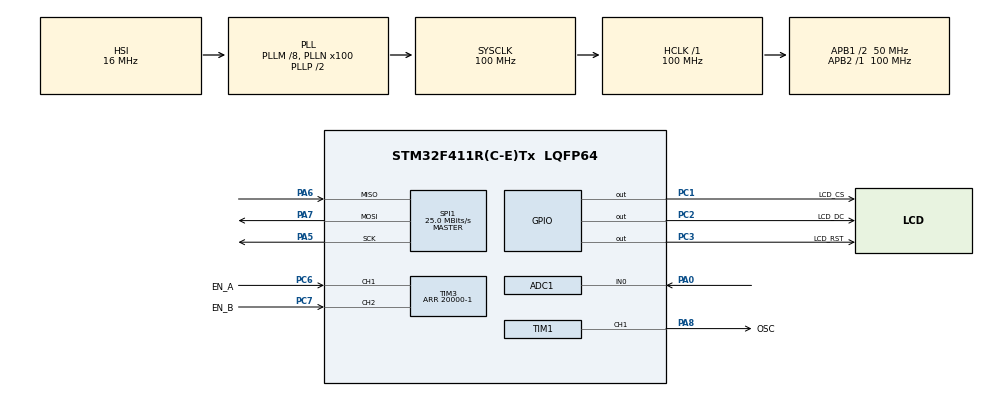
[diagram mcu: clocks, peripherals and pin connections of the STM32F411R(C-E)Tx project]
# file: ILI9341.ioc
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ADC1.Channel-0\#ChannelRegularConversion=ADC_CHANNEL_0
ADC1.ContinuousConvMode=DISABLE
ADC1.DMAContinuousRequests=ENABLE
ADC1.ExternalTrigConv=ADC_EXTERNALTRIGCONV_T2_TRGO
ADC1.NbrOfConversionFlag=1
ADC1.Rank-0\#ChannelRegularConversion=1
ADC1.SamplingTime-0\#ChannelRegularConversion=ADC_SAMPLETIME_3CYCLES
ADC1.master=1
Dma.ADC1.1.Direction=DMA_PERIPH_TO_MEMORY
Dma.ADC1.1.FIFOMode=DMA_FIFOMODE_DISABLE
Dma.ADC1.1.Instance=DMA2_Stream0
Dma.ADC1.1.MemDataAlignment=DMA_MDATAALIGN_HALFWORD
Dma.ADC1.1.MemInc=DMA_MINC_ENABLE
Dma.ADC1.1.Mode=DMA_CIRCULAR
Dma.ADC1.1.PeriphDataAlignment=DMA_PDATAALIGN_HALFWORD
Dma.ADC1.1.PeriphInc=DMA_PINC_DISABLE
Dma.ADC1.1.Priority=DMA_PRIORITY_LOW
Dma.Request0=SPI1_TX
Dma.Request1=ADC1
Dma.SPI1_TX.0.Direction=DMA_MEMORY_TO_PERIPH
Dma.SPI1_TX.0.FIFOMode=DMA_FIFOMODE_DISABLE
Dma.SPI1_TX.0.Instance=DMA2_Stream2
Dma.SPI1_TX.0.MemDataAlignment=DMA_MDATAALIGN_BYTE
Dma.SPI1_TX.0.MemInc=DMA_MINC_ENABLE
Dma.SPI1_TX.0.Mode=DMA_NORMAL
Dma.SPI1_TX.0.PeriphDataAlignment=DMA_PDATAALIGN_BYTE
Dma.SPI1_TX.0.PeriphInc=DMA_PINC_DISABLE
Dma.SPI1_TX.0.Priority=DMA_PRIORITY_LOW
Mcu.Family=STM32F4
Mcu.Name=STM32F411R(C-E)Tx
Mcu.Package=LQFP64
NVIC.DMA2_Stream0_IRQn=true\:0\:0\:false\:false\:true\:false\:true\:true
NVIC.DMA2_Stream2_IRQn=true\:0\:0\:false\:false\:true\:false\:true\:true
NVIC.PriorityGroup=NVIC_PRIORITYGROUP_4
NVIC.SPI1_IRQn=true\:0\:0\:false\:false\:true\:true\:true\:true
NVIC.TIM2_IRQn=true\:0\:0\:false\:false\:true\:true\:true\:true
PA0-WKUP.Signal=ADCx_IN0
PA5.Mode=Full_Duplex_Master
PA5.Signal=SPI1_SCK
PA6.Mode=Full_Duplex_Master
PA6.Signal=SPI1_MISO
PA7.Mode=Full_Duplex_Master
PA7.Signal=SPI1_MOSI
PA8.GPIO_Label=OSC
PA8.Signal=S_TIM1_CH1
PC1.GPIO_Label=LCD_CS
PC1.Signal=GPIO_Output
PC2.GPIO_Label=LCD_DC
PC2.Signal=GPIO_Output
PC3.GPIO_Label=LCD_RST
PC3.Signal=GPIO_Output
PC6.GPIO_Label=EN_A
PC6.Signal=S_TIM3_CH1
PC7.GPIO_Label=EN_B
PC7.Signal=S_TIM3_CH2
ProjectManager.HeapSize=0x200
ProjectManager.StackSize=0x400
ProjectManager.TargetToolchain=STM32CubeIDE
RCC.48MHZClocksFreq_Value=50000000
RCC.AHBFreq_Value=100000000
RCC.APB1CLKDivider=RCC_HCLK_DIV2
RCC.APB1Freq_Value=50000000
RCC.APB1TimFreq_Value=100000000
RCC.APB2Freq_Value=100000000
RCC.APB2TimFreq_Value=100000000
RCC.CortexFreq_Value=100000000
RCC.HCLKFreq_Value=100000000
RCC.HSE_VALUE=25000000
RCC.HSI_VALUE=16000000
RCC.LSE_VALUE=32768
RCC.PLLM=8
RCC.PLLN=100
RCC.SYSCLKFreq_VALUE=100000000
RCC.SYSCLKSource=RCC_SYSCLKSOURCE_PLLCLK
RCC.VCOOutputFreq_Value=200000000
SH.ADCx_IN0.0=ADC1_IN0,IN0
SH.S_TIM1_CH1.0=TIM1_CH1,PWM Generation1 CH1
SH.S_TIM3_CH1.0=TIM3_CH1,Encoder_Interface
SH.S_TIM3_CH2.0=TIM3_CH2,Encoder_Interface
SPI1.BaudRatePrescaler=SPI_BAUDRATEPRESCALER_4
SPI1.CalculateBaudRate=25.0 MBits/s
SPI1.Direction=SPI_DIRECTION_2LINES
SPI1.Mode=SPI_MODE_MASTER
SPI1.VirtualType=VM_MASTER
TIM1.Channel-PWM\ Generation1\ CH1=TIM_CHANNEL_1
TIM1.Period=1000-1
TIM1.Prescaler=100-1
TIM1.Pulse-PWM\ Generation1\ CH1=500-1
TIM2.Period=5-1
TIM2.Prescaler=100-1
TIM2.TIM_MasterOutputTrigger=TIM_TRGO_UPDATE
TIM3.EncoderMode=TIM_ENCODERMODE_TI12
TIM3.Period=20000-1
VP_TIM1_VS_ClockSourceINT.Mode=Internal
VP_TIM2_VS_ClockSourceINT.Mode=Internal
board=custom

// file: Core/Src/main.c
/* USER CODE BEGIN Header */
/**
 ******************************************************************************
 * @file           : main.c
 * @brief          : Main program body
 ******************************************************************************
 * @attention
 *
 * Copyright (c) 2024 STMicroelectronics.
 * All rights reserved.
 *
 * This software is licensed under terms that can be found in the LICENSE file
 * in the root directory of this software component.
 * If no LICENSE file comes with this software, it is provided AS-IS.
 *
 ******************************************************************************
 */
/* USER CODE END Header */
#include "main.h"

/* USER CODE BEGIN Includes */
#include "ILI9341_STM32_Driver.h"
#include "ILI9341_GFX.h"//GFX?�� 참조?��기에 무조�??????? ?���????????��?��?��?��.
#include "arm_math.h"
/* USER CODE END Includes */

ADC_HandleTypeDef hadc1;
DMA_HandleTypeDef hdma_adc1;

SPI_HandleTypeDef hspi1;
DMA_HandleTypeDef hdma_spi1_tx;

TIM_HandleTypeDef htim1;
TIM_HandleTypeDef htim2;
TIM_HandleTypeDef htim3;

/* USER CODE BEGIN PV */
#define SamplesFFT 512

float32_t FFT_Input_Q15_f[50];
float32_t aFFT_Input_Q15[50];

uint16_t adcValue[SamplesFFT];
uint16_t doConvert = SamplesFFT;

float32_t input[SamplesFFT];
float32_t output[SamplesFFT/2];

/* USER CODE END PV */

void SystemClock_Config(void);
static void MX_GPIO_Init(void);
static void MX_DMA_Init(void);
static void MX_SPI1_Init(void);
static void MX_TIM3_Init(void);
static void MX_ADC1_Init(void);
static void MX_TIM1_Init(void);
static void MX_TIM2_Init(void);

/* USER CODE BEGIN 0 */
void HAL_TIM_PeriodElapsedCallback(TIM_HandleTypeDef *htim) {
	if (htim == &htim2) {
		if (doConvert > 0)
			doConvert--;

	}
}
/* USER CODE END 0 */

int main(void) {

	/* MCU Configuration--------------------------------------------------------*/

	/* Reset of all peripherals, Initializes the Flash interface and the Systick. */
	HAL_Init();

	/* Configure the system clock */
	SystemClock_Config();

	/* Initialize all configured peripherals */
	MX_GPIO_Init();
	MX_DMA_Init();
	MX_SPI1_Init();
	MX_TIM3_Init();
	MX_ADC1_Init();
	MX_TIM1_Init();
	MX_TIM2_Init();
	/* USER CODE BEGIN 2 */
	// setup OSC
	HAL_TIM_PWM_Start(&htim1, TIM_CHANNEL_1);

	//setup adc
	HAL_TIM_Base_Start_IT(&htim2);
	HAL_ADC_Start_DMA(&hadc1, (uint32_t) adcValue, 512);

	//setup encoder
	HAL_TIM_Encoder_Start(&htim3, TIM_CHANNEL_ALL);
	//setup color LCD
	ILI9341_Init();
	ILI9341_SetRotation(SCREEN_HORIZONTAL_2);
	ILI9341_FillScreen(WHITE);

	arm_rfft_fast_instance_f32 fftInstance;
	//320/240 ?���??????�?????? 중간?? 159/119
//	ILI9341_DrawHollowCircle(159, 119, 100, BLACK);
//  ILI9341_DrawText("Hello world", FONT4, 10, 100, BLACK, WHITE);
//  HAL_Delay(2000);
//  ILI9341_FillScreen(WHITE);
//
//  for(uint16_t i =0; i<11; i++){
//  	char BufferText[40];
//  	sprintf(BufferText, "Counting: %d", i);
//  	ILI9341_DrawText(BufferText, FONT3, 10, 10, BLACK, WHITE);
//  	ILI9341_DrawText(BufferText, FONT3, 10, 30, BLUE, WHITE);
//  	ILI9341_DrawText(BufferText, FONT3, 10, 50, RED, WHITE);
//  	ILI9341_DrawText(BufferText, FONT3, 10, 70, GREEN, WHITE);
//  	ILI9341_DrawText(BufferText, FONT3, 10, 90, PINK, WHITE);
//  	ILI9341_DrawText(BufferText, FONT3, 10, 110, MAGENTA, WHITE);
//  	ILI9341_DrawText(BufferText, FONT3, 10, 130, DARKGREEN, WHITE);
//  	ILI9341_DrawText(BufferText, FONT3, 10, 150, DARKGREY, WHITE);
//  	ILI9341_DrawText(BufferText, FONT3, 10, 170, 0x1234, WHITE);
//  	ILI9341_DrawText(BufferText, FONT3, 10, 190, 0xb1f3, WHITE);
//  	HAL_Delay(100);
//  }
//
//  ILI9341_FillScreen(WHITE);
//  ILI9341_DrawLine(100, 100, 150, 50, RED);//1:30방향
//  ILI9341_DrawLine(100, 100, 150, 150, YELLOW);//4:30방향
//  ILI9341_DrawLine(100, 100, 50, 150, GREEN);//1:30방향
//  ILI9341_DrawLine(100, 100, 50, 50, BLUE);//1:30방향
//
//  ILI9341_DrawLine(200, 200, 230, 300, RED);//1:30방향
//  HAL_Delay(1000);
//
//  ILI9341_FillScreen(WHITE);
//  //무�?�??????? 빨주?��초파?���???????
//  for(int i=0; i<5; i++) ILI9341_DrawLine(0, i, 319, i, 0xf800);
//  for(int i=0; i<5; i++) ILI9341_DrawLine(0, i+5, 319, i+5, 0xfc60);
//  for(int i=0; i<5; i++) ILI9341_DrawLine(0, i+10, 319, i+10, 0xffe0);
//  for(int i=0; i<5; i++) ILI9341_DrawLine(0, i+15, 319, i+15, 0x07e0);
//  for(int i=0; i<5; i++) ILI9341_DrawLine(0, i+20, 319, i+20, 0x001f);
//  for(int i=0; i<5; i++) ILI9341_DrawLine(0, i+25, 319, i+25, 0x781f);
//  for(int i=0; i<5; i++) ILI9341_DrawLine(0, i+30, 319, i+30, 0xf81f);

	/* USER CODE END 2 */

	/* Infinite loop */
	/* USER CODE BEGIN WHILE */
	while (1) {
		if (doConvert == 0) {
			doConvert=SamplesFFT;
			ILI9341_FillScreen(WHITE);
			for(int i = 0; i<SamplesFFT; i+=2){
				input[i] = (float32_t)adcValue[i/2];
				input[i+1] = 0;
			}

			arm_rfft_fast_init_f32(&fftInstance, SamplesFFT);
			arm_rfft_fast_f32(&fftInstance, input, output, 0);

			// show data
			for(int i=0;i<256;i++){
				ILI9341_DrawLine(i, 239, i, 239-output[i], BLACK);
			}

			//			for (int x = 0; x < SamplesFFT; x++) {
//				//ILI9341_DrawPixel(x, adcValue[x] / 20, BLACK);
//				ILI9341_DrawLine(x, adcValue[x] / 20, x + 1, adcValue[x + 1] / 20,
//				BLACK);
//			}

			//HAL_Delay(100);
		}
		//Change freq
		htim1.Instance->ARR = htim3.Instance->CNT;
		htim1.Instance->CCR1 = htim1.Instance->ARR / 2;

//  	static int oldx, oldy;
//  	ILI9341_DrawLine(159, 119, oldx, oldy, WHITE);
//  	int x = 159 + cos(htim3.Instance->CNT * 3.14/180)*95;
//  	int y = 119 - sin(htim3.Instance->CNT*3.14/180)*95;
//  	ILI9341_DrawLine(159, 119, x, y, BLUE);
//  	oldx=x;
//  	oldy=y;
//
//  	char str[30];
//  	sprintf(str,"%5d",htim3.Instance->CNT);
//  	ILI9341_DrawText(str, FONT4, 20, 20, BLACK, WHITE);
		/* USER CODE END WHILE */

	}
}

void SystemClock_Config(void) {
	RCC_OscInitTypeDef RCC_OscInitStruct = { 0 };
	RCC_ClkInitTypeDef RCC_ClkInitStruct = { 0 };

	/** Configure the main internal regulator output voltage
	 */
	__HAL_RCC_PWR_CLK_ENABLE();
	__HAL_PWR_VOLTAGESCALING_CONFIG(PWR_REGULATOR_VOLTAGE_SCALE1);

	/** Initializes the RCC Oscillators according to the specified parameters
	 * in the RCC_OscInitTypeDef structure.
	 */
	RCC_OscInitStruct.OscillatorType = RCC_OSCILLATORTYPE_HSI;
	RCC_OscInitStruct.HSIState = RCC_HSI_ON;
	RCC_OscInitStruct.HSICalibrationValue = RCC_HSICALIBRATION_DEFAULT;
	RCC_OscInitStruct.PLL.PLLState = RCC_PLL_ON;
	RCC_OscInitStruct.PLL.PLLSource = RCC_PLLSOURCE_HSI;
	RCC_OscInitStruct.PLL.PLLM = 8;
	RCC_OscInitStruct.PLL.PLLN = 100;
	RCC_OscInitStruct.PLL.PLLP = RCC_PLLP_DIV2;
	RCC_OscInitStruct.PLL.PLLQ = 4;
	if (HAL_RCC_OscConfig(&RCC_OscInitStruct) != HAL_OK) {
		Error_Handler();
	}

	/** Initializes the CPU, AHB and APB buses clocks
	 */
	RCC_ClkInitStruct.ClockType = RCC_CLOCKTYPE_HCLK | RCC_CLOCKTYPE_SYSCLK
			| RCC_CLOCKTYPE_PCLK1 | RCC_CLOCKTYPE_PCLK2;
	RCC_ClkInitStruct.SYSCLKSource = RCC_SYSCLKSOURCE_PLLCLK;
	RCC_ClkInitStruct.AHBCLKDivider = RCC_SYSCLK_DIV1;
	RCC_ClkInitStruct.APB1CLKDivider = RCC_HCLK_DIV2;
	RCC_ClkInitStruct.APB2CLKDivider = RCC_HCLK_DIV1;

	if (HAL_RCC_ClockConfig(&RCC_ClkInitStruct, FLASH_LATENCY_3) != HAL_OK) {
		Error_Handler();
	}
}

static void MX_ADC1_Init(void) {

	ADC_ChannelConfTypeDef sConfig = { 0 };

	/** Configure the global features of the ADC (Clock, Resolution, Data Alignment and number of conversion)
	 */
	hadc1.Instance = ADC1;
	hadc1.Init.ClockPrescaler = ADC_CLOCK_SYNC_PCLK_DIV4;
	hadc1.Init.Resolution = ADC_RESOLUTION_12B;
	hadc1.Init.ScanConvMode = DISABLE;
	hadc1.Init.ContinuousConvMode = DISABLE;
	hadc1.Init.DiscontinuousConvMode = DISABLE;
	hadc1.Init.ExternalTrigConvEdge = ADC_EXTERNALTRIGCONVEDGE_RISING;
	hadc1.Init.ExternalTrigConv = ADC_EXTERNALTRIGCONV_T2_TRGO;
	hadc1.Init.DataAlign = ADC_DATAALIGN_RIGHT;
	hadc1.Init.NbrOfConversion = 1;
	hadc1.Init.DMAContinuousRequests = ENABLE;
	hadc1.Init.EOCSelection = ADC_EOC_SINGLE_CONV;
	if (HAL_ADC_Init(&hadc1) != HAL_OK) {
		Error_Handler();
	}

	/** Configure for the selected ADC regular channel its corresponding rank in the sequencer and its sample time.
	 */
	sConfig.Channel = ADC_CHANNEL_0;
	sConfig.Rank = 1;
	sConfig.SamplingTime = ADC_SAMPLETIME_3CYCLES;
	if (HAL_ADC_ConfigChannel(&hadc1, &sConfig) != HAL_OK) {
		Error_Handler();
	}

}

static void MX_SPI1_Init(void) {

	/* SPI1 parameter configuration*/
	hspi1.Instance = SPI1;
	hspi1.Init.Mode = SPI_MODE_MASTER;
	hspi1.Init.Direction = SPI_DIRECTION_2LINES;
	hspi1.Init.DataSize = SPI_DATASIZE_8BIT;
	hspi1.Init.CLKPolarity = SPI_POLARITY_LOW;
	hspi1.Init.CLKPhase = SPI_PHASE_1EDGE;
	hspi1.Init.NSS = SPI_NSS_SOFT;
	hspi1.Init.BaudRatePrescaler = SPI_BAUDRATEPRESCALER_4;
	hspi1.Init.FirstBit = SPI_FIRSTBIT_MSB;
	hspi1.Init.TIMode = SPI_TIMODE_DISABLE;
	hspi1.Init.CRCCalculation = SPI_CRCCALCULATION_DISABLE;
	hspi1.Init.CRCPolynomial = 10;
	if (HAL_SPI_Init(&hspi1) != HAL_OK) {
		Error_Handler();
	}

}

static void MX_TIM1_Init(void) {

	TIM_ClockConfigTypeDef sClockSourceConfig = { 0 };
	TIM_MasterConfigTypeDef sMasterConfig = { 0 };
	TIM_OC_InitTypeDef sConfigOC = { 0 };
	TIM_BreakDeadTimeConfigTypeDef sBreakDeadTimeConfig = { 0 };

	htim1.Instance = TIM1;
	htim1.Init.Prescaler = 100 - 1;
	htim1.Init.CounterMode = TIM_COUNTERMODE_UP;
	htim1.Init.Period = 1000 - 1;
	htim1.Init.ClockDivision = TIM_CLOCKDIVISION_DIV1;
	htim1.Init.RepetitionCounter = 0;
	htim1.Init.AutoReloadPreload = TIM_AUTORELOAD_PRELOAD_DISABLE;
	if (HAL_TIM_Base_Init(&htim1) != HAL_OK) {
		Error_Handler();
	}
	sClockSourceConfig.ClockSource = TIM_CLOCKSOURCE_INTERNAL;
	if (HAL_TIM_ConfigClockSource(&htim1, &sClockSourceConfig) != HAL_OK) {
		Error_Handler();
	}
	if (HAL_TIM_PWM_Init(&htim1) != HAL_OK) {
		Error_Handler();
	}
	sMasterConfig.MasterOutputTrigger = TIM_TRGO_RESET;
	sMasterConfig.MasterSlaveMode = TIM_MASTERSLAVEMODE_DISABLE;
	if (HAL_TIMEx_MasterConfigSynchronization(&htim1, &sMasterConfig) != HAL_OK) {
		Error_Handler();
	}
	sConfigOC.OCMode = TIM_OCMODE_PWM1;
	sConfigOC.Pulse = 500 - 1;
	sConfigOC.OCPolarity = TIM_OCPOLARITY_HIGH;
	sConfigOC.OCNPolarity = TIM_OCNPOLARITY_HIGH;
	sConfigOC.OCFastMode = TIM_OCFAST_DISABLE;
	sConfigOC.OCIdleState = TIM_OCIDLESTATE_RESET;
	sConfigOC.OCNIdleState = TIM_OCNIDLESTATE_RESET;
	if (HAL_TIM_PWM_ConfigChannel(&htim1, &sConfigOC, TIM_CHANNEL_1) != HAL_OK) {
		Error_Handler();
	}
	sBreakDeadTimeConfig.OffStateRunMode = TIM_OSSR_DISABLE;
	sBreakDeadTimeConfig.OffStateIDLEMode = TIM_OSSI_DISABLE;
	sBreakDeadTimeConfig.LockLevel = TIM_LOCKLEVEL_OFF;
	sBreakDeadTimeConfig.DeadTime = 0;
	sBreakDeadTimeConfig.BreakState = TIM_BREAK_DISABLE;
	sBreakDeadTimeConfig.BreakPolarity = TIM_BREAKPOLARITY_HIGH;
	sBreakDeadTimeConfig.AutomaticOutput = TIM_AUTOMATICOUTPUT_DISABLE;
	if (HAL_TIMEx_ConfigBreakDeadTime(&htim1, &sBreakDeadTimeConfig) != HAL_OK) {
		Error_Handler();
	}
	HAL_TIM_MspPostInit(&htim1);

}

static void MX_TIM2_Init(void) {

	TIM_ClockConfigTypeDef sClockSourceConfig = { 0 };
	TIM_MasterConfigTypeDef sMasterConfig = { 0 };

	htim2.Instance = TIM2;
	htim2.Init.Prescaler = 100 - 1;
	htim2.Init.CounterMode = TIM_COUNTERMODE_UP;
	htim2.Init.Period = 5 - 1;
	htim2.Init.ClockDivision = TIM_CLOCKDIVISION_DIV1;
	htim2.Init.AutoReloadPreload = TIM_AUTORELOAD_PRELOAD_DISABLE;
	if (HAL_TIM_Base_Init(&htim2) != HAL_OK) {
		Error_Handler();
	}
	sClockSourceConfig.ClockSource = TIM_CLOCKSOURCE_INTERNAL;
	if (HAL_TIM_ConfigClockSource(&htim2, &sClockSourceConfig) != HAL_OK) {
		Error_Handler();
	}
	sMasterConfig.MasterOutputTrigger = TIM_TRGO_UPDATE;
	sMasterConfig.MasterSlaveMode = TIM_MASTERSLAVEMODE_DISABLE;
	if (HAL_TIMEx_MasterConfigSynchronization(&htim2, &sMasterConfig) != HAL_OK) {
		Error_Handler();
	}

}

static void MX_TIM3_Init(void) {

	TIM_Encoder_InitTypeDef sConfig = { 0 };
	TIM_MasterConfigTypeDef sMasterConfig = { 0 };

	htim3.Instance = TIM3;
	htim3.Init.Prescaler = 0;
	htim3.Init.CounterMode = TIM_COUNTERMODE_UP;
	htim3.Init.Period = 20000 - 1;
	htim3.Init.ClockDivision = TIM_CLOCKDIVISION_DIV1;
	htim3.Init.AutoReloadPreload = TIM_AUTORELOAD_PRELOAD_DISABLE;
	sConfig.EncoderMode = TIM_ENCODERMODE_TI12;
	sConfig.IC1Polarity = TIM_ICPOLARITY_RISING;
	sConfig.IC1Selection = TIM_ICSELECTION_DIRECTTI;
	sConfig.IC1Prescaler = TIM_ICPSC_DIV1;
	sConfig.IC1Filter = 0;
	sConfig.IC2Polarity = TIM_ICPOLARITY_RISING;
	sConfig.IC2Selection = TIM_ICSELECTION_DIRECTTI;
	sConfig.IC2Prescaler = TIM_ICPSC_DIV1;
	sConfig.IC2Filter = 0;
	if (HAL_TIM_Encoder_Init(&htim3, &sConfig) != HAL_OK) {
		Error_Handler();
	}
	sMasterConfig.MasterOutputTrigger = TIM_TRGO_RESET;
	sMasterConfig.MasterSlaveMode = TIM_MASTERSLAVEMODE_DISABLE;
	if (HAL_TIMEx_MasterConfigSynchronization(&htim3, &sMasterConfig) != HAL_OK) {
		Error_Handler();
	}

}

static void MX_DMA_Init(void) {

	/* DMA controller clock enable */
	__HAL_RCC_DMA2_CLK_ENABLE();

	/* DMA interrupt init */
	/* DMA2_Stream0_IRQn interrupt configuration */
	HAL_NVIC_SetPriority(DMA2_Stream0_IRQn, 0, 0);
	HAL_NVIC_EnableIRQ(DMA2_Stream0_IRQn);
	/* DMA2_Stream2_IRQn interrupt configuration */
	HAL_NVIC_SetPriority(DMA2_Stream2_IRQn, 0, 0);
	HAL_NVIC_EnableIRQ(DMA2_Stream2_IRQn);

}

static void MX_GPIO_Init(void) {
	GPIO_InitTypeDef GPIO_InitStruct = { 0 };

	/* GPIO Ports Clock Enable */
	__HAL_RCC_GPIOC_CLK_ENABLE();
	__HAL_RCC_GPIOA_CLK_ENABLE();

	/*Configure GPIO pin Output Level */
	HAL_GPIO_WritePin(GPIOC, LCD_CS_Pin | LCD_DC_Pin | LCD_RST_Pin,
			GPIO_PIN_RESET);

	/*Configure GPIO pins : LCD_CS_Pin LCD_DC_Pin LCD_RST_Pin */
	GPIO_InitStruct.Pin = LCD_CS_Pin | LCD_DC_Pin | LCD_RST_Pin;
	GPIO_InitStruct.Mode = GPIO_MODE_OUTPUT_PP;
	GPIO_InitStruct.Pull = GPIO_NOPULL;
	GPIO_InitStruct.Speed = GPIO_SPEED_FREQ_LOW;
	HAL_GPIO_Init(GPIOC, &GPIO_InitStruct);

}

void Error_Handler(void) {
	__disable_irq();
	while (1) {
	}
}
